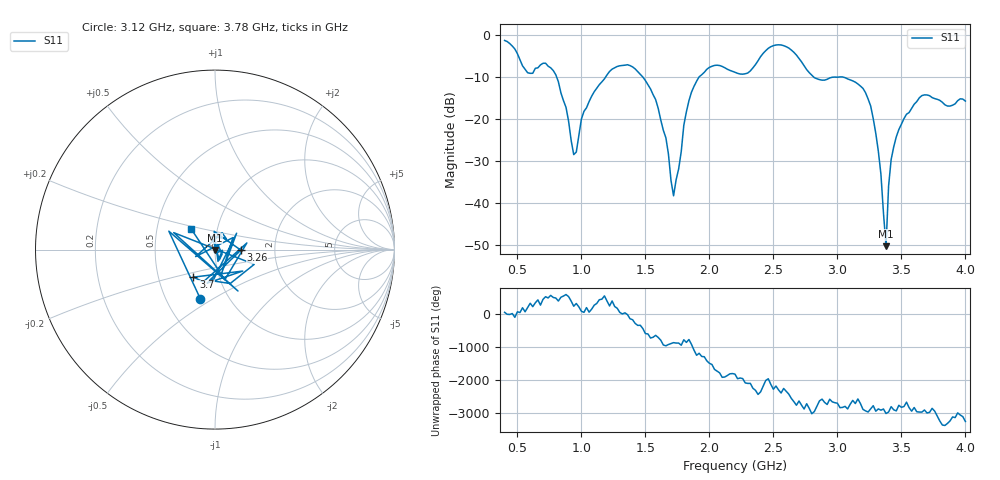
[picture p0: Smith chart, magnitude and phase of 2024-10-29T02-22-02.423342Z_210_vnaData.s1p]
!Created with skrf (http://scikit-rf.org).
# Hz S RI R 50.0
!freq ReS11 ImS11
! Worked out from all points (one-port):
!   181 points, 400 MHz to 4 GHz, reference 50 ohm
!   lowest |S11| = -50.2 dB at 3.38 GHz (marker M1), VSWR 1.01, Z = 49.7 - j0.172 ohm
!   |S11| at or under -10 dB: 807.3 MHz to 1.188 GHz (380.5 MHz wide, 38.1 % of centre); 1.482 GHz to 1.918 GHz (436.1 MHz wide, 25.7 % of centre); 3.05 GHz to end of sweep (the widest 3 of 4)
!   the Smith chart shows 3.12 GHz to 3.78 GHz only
!   S11 on the Smith chart (normalised r, x): 3.12 GHz: 0.74, -0.44; 3.26 GHz: 1.34, -0.01; 3.7 GHz: 0.75, -0.24; 3.78 GHz: 0.75, +0.17
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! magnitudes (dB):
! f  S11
! 400 MHz  -1.2
! 580 MHz  -8.9
! 760 MHz  -7.7
! 860 MHz  -15.6
! 940 MHz  -28.4
! 1.08 GHz  -14.5
! 1.3 GHz  -7.3
! 1.58 GHz  -15.3
! 1.66 GHz  -24.4
! 1.72 GHz  -38.2
! 1.76 GHz  -31.8
! 1.82 GHz  -18.3
! 1.92 GHz  -9.9
! 2.2 GHz  -8.8
! 2.5 GHz  -2.5
! 2.66 GHz  -4.0
! 2.82 GHz  -10.1
! 3.1 GHz  -10.6
! 3.12 GHz  -10.8
! 3.26 GHz  -16.8
! 3.34 GHz  -33.1
! 3.38 GHz  -50.2
! 3.4 GHz  -35.9
! 3.42 GHz  -29.6
! 3.56 GHz  -18.4
! 3.7 GHz  -14.2
! 3.78 GHz  -15.2
! 4 GHz  -15.7
